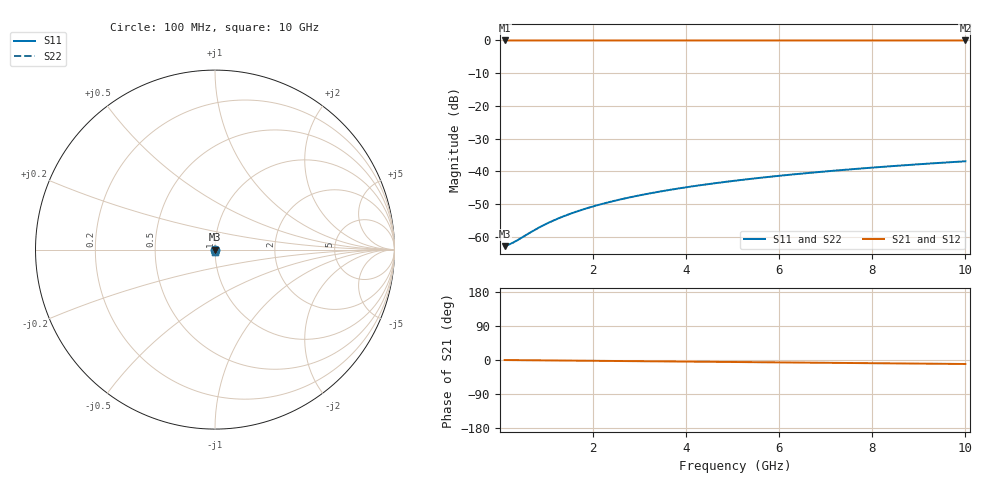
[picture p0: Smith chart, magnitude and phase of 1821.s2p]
# Hz S RI R 50.00
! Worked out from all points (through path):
!   100 points, 100 MHz to 10 GHz, reference 50 ohm
!   highest |S21| = -0.01 dB at 100 MHz (marker M1); lowest = 0.0 dB at 10 GHz (marker M2)
!   group delay of S21, straight-line fit = 2.93 ps
!   lowest |S11| = -62.9 dB at 100 MHz (marker M3), VSWR 1.00, Z = 50.1 - j0.0142 ohm
!   |S11| at or under -10 dB: start of sweep to end of sweep
!   |S22| runs from -62.9 to -36.9 dB; largest |S21 - S12| = 0
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1e8  0.000706 -0.000142  0.9993 -0.00183  0.9993 -0.00183  0.000706 -0.000142
2e8  0.000709 -0.000284  0.9993 -0.00366  0.9993 -0.00366  0.000709 -0.000284
3e8  0.00071 -0.000426  0.9993 -0.00549  0.9993 -0.00549  0.00071 -0.000426
8e8  0.000702 -0.00114  0.9992 -0.0146  0.9992 -0.0146  0.000702 -0.00114
9e8  0.000699 -0.00128  0.9991 -0.0165  0.9991 -0.0165  0.000699 -0.00128
1.1e9  0.00069 -0.00156  0.9991 -0.0201  0.9991 -0.0201  0.00069 -0.00156
1.4e9  0.000671 -0.00199  0.9989 -0.0256  0.9989 -0.0256  0.000671 -0.00199
1.6e9  0.000656 -0.00228  0.9988 -0.0293  0.9988 -0.0293  0.000656 -0.00228
1.8e9  0.000639 -0.00256  0.9987 -0.033  0.9987 -0.033  0.000639 -0.00256
2.1e9  0.000609 -0.00299  0.9985 -0.0384  0.9985 -0.0384  0.000609 -0.00299
2.5e9  0.000562 -0.00356  0.9982 -0.0458  0.9982 -0.0458  0.000562 -0.00356
2.9e9  0.000505 -0.00413  0.9978 -0.0531  0.9978 -0.0531  0.000505 -0.00413
3.4e9  0.000423 -0.00484  0.9973 -0.0623  0.9973 -0.0623  0.000423 -0.00484
3.8e9  0.000348 -0.00542  0.9968 -0.0696  0.9968 -0.0696  0.000348 -0.00542
4.2e9  0.000263 -0.00599  0.9962 -0.0769  0.9962 -0.0769  0.000263 -0.00599
4.6e9  0.000171 -0.00656  0.9956 -0.0842  0.9956 -0.0842  0.000171 -0.00656
5.1e9  4.31e-05 -0.00727  0.9948 -0.0934  0.9948 -0.0934  4.31e-05 -0.00727
5.9e9  -0.000189 -0.00841  0.9933 -0.1081  0.9933 -0.1081  -0.000189 -0.00841
6.7e9  -0.000455 -0.00954  0.9915 -0.1227  0.9915 -0.1227  -0.000455 -0.00954
7.5e9  -0.000754 -0.0107  0.9896 -0.1373  0.9896 -0.1373  -0.000754 -0.0107
8.4e9  -0.00113 -0.0119  0.9871 -0.1538  0.9871 -0.1538  -0.00113 -0.0119
1e10  -0.0019 -0.0141  0.9821 -0.183  0.9821 -0.183  -0.0019 -0.0141
